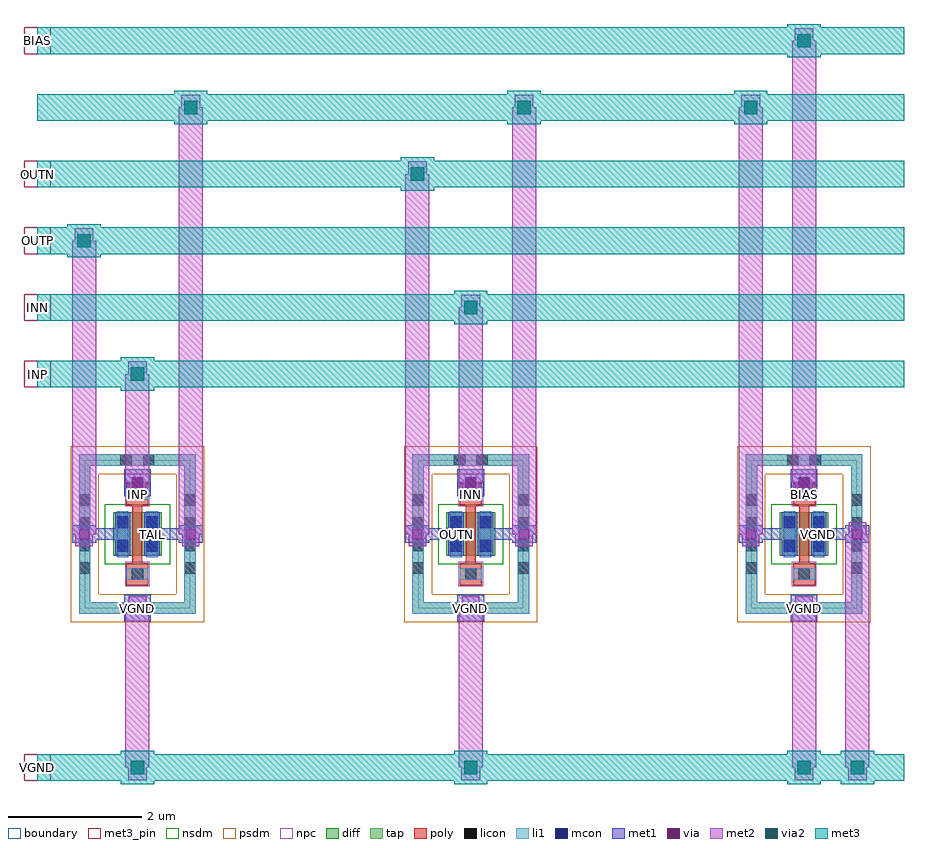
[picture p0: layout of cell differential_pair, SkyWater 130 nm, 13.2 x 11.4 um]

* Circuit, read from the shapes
.subckt differential_pair BIAS INN INP OUTN OUTP TAIL VGND
XM1 TAIL INP OUTP VGND sky130_fd_pr__nfet_01v8 w=0.65 l=0.15
XM2 TAIL INN OUTN VGND sky130_fd_pr__nfet_01v8 w=0.65 l=0.15
XM3 VGND BIAS TAIL VGND sky130_fd_pr__nfet_01v8 w=0.65 l=0.15
.ends

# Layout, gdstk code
import gdstk
lib = gdstk.Library(unit=1e-6, precision=1e-09)
def R(c, l, rs):  # rectangles x0, y0, x1, y1
    for r in rs: c.add(gdstk.rectangle(r[:2], r[2:], *l))
def A(c, l, x, y, w, h, nx, ny, dx, dy):  # array of equal rectangles
    R(c, l, [(x+i*dx, y+j*dy, x+i*dx+w, y+j*dy+h) for i in range(nx) for j in range(ny)])
diff = (65, 20)
tap = (65, 44)
poly = (66, 20)
licon = (66, 44)
li1 = (67, 20)
mcon = (67, 44)
met1 = (68, 20)
via = (68, 44)
met2 = (69, 20)
via2 = (69, 44)
met3_pin = (70, 16)
met3 = (70, 20)
nsdm = (93, 44)
psdm = (94, 20)
npc = (95, 20)
boundary = (235, 4)

differential_pair = lib.new_cell('differential_pair')
A(differential_pair, diff, -0.365, -0.325, 0.73, 0.65, 3, 1, 5, 0)
A(differential_pair, tap, -0.875, -1.195, 1.75, 0.17, 3, 2, 5, 2.22)
R(differential_pair, tap, [(-0.875,-1.025,-0.705,1.025), (0.705,-1.025,0.875,1.025), (4.125,-1.025,4.295,1.025), (5.705,-1.025,5.875,1.025), (9.125,-1.025,9.295,1.025), (10.705,-1.025,10.875,1.025)])
A(differential_pair, poly, -0.165, -0.765, 0.33, 0.33, 3, 2, 5, 1.2)
A(differential_pair, poly, -0.075, -0.435, 0.15, 0.87, 3, 1, 5, 0)
A(differential_pair, licon, -0.085, -0.685, 0.17, 0.17, 3, 2, 5, 1.2)
A(differential_pair, licon, -0.875, -0.595, 0.17, 0.17, 1, 4, 0, 0.34)
A(differential_pair, licon, 0.705, -0.595, 0.17, 0.17, 1, 4, 0, 0.34)
A(differential_pair, licon, 4.125, -0.595, 0.17, 0.17, 1, 4, 0, 0.34)
A(differential_pair, licon, 5.705, -0.595, 0.17, 0.17, 1, 4, 0, 0.34)
A(differential_pair, licon, 9.125, -0.595, 0.17, 0.17, 1, 4, 0, 0.34)
A(differential_pair, licon, 10.705, -0.595, 0.17, 0.17, 1, 4, 0, 0.34)
R(differential_pair, licon, [(-0.255,-1.195,-0.085,-1.025), (0.085,-1.195,0.255,-1.025), (4.745,-1.195,4.915,-1.025), (5.085,-1.195,5.255,-1.025), (9.745,-1.195,9.915,-1.025), (10.085,-1.195,10.255,-1.025), (-0.305,-0.255,-0.135,-0.085), (0.135,-0.255,0.305,-0.085), (4.695,-0.255,4.865,-0.085), (5.135,-0.255,5.305,-0.085), (9.695,-0.255,9.865,-0.085), (10.135,-0.255,10.305,-0.085), (-0.305,0.085,-0.135,0.255), (0.135,0.085,0.305,0.255), (4.695,0.085,4.865,0.255), (5.135,0.085,5.305,0.255), (9.695,0.085,9.865,0.255), (10.135,0.085,10.305,0.255), (-0.255,1.025,-0.085,1.195), (0.085,1.025,0.255,1.195), (4.745,1.025,4.915,1.195), (5.085,1.025,5.255,1.195), (9.745,1.025,9.915,1.195), (10.085,1.025,10.255,1.195)])
A(differential_pair, li1, -0.875, -1.195, 1.75, 0.17, 3, 2, 5, 2.22)
A(differential_pair, li1, -0.165, -0.685, 0.33, 0.17, 3, 2, 5, 1.2)
A(differential_pair, li1, -0.085, 0.515, 0.17, 0.34, 3, 1, 5, 0)
R(differential_pair, li1, [(-0.875,-1.025,-0.705,1.025), (0.705,-1.025,0.875,1.025), (4.125,-1.025,4.295,1.025), (5.705,-1.025,5.875,1.025), (9.125,-1.025,9.295,1.025), (10.705,-1.025,10.875,1.025), (-0.305,-0.345,-0.135,0.345), (0.135,-0.345,0.305,0.345), (4.695,-0.345,4.865,0.345), (5.135,-0.345,5.305,0.345), (9.695,-0.345,9.865,0.345), (10.135,-0.345,10.305,0.345)])
A(differential_pair, mcon, -0.085, -1.195, 0.17, 0.17, 3, 2, 5, 1.88)
R(differential_pair, mcon, [(-0.305,-0.265,-0.135,-0.095), (0.135,-0.265,0.305,-0.095), (4.695,-0.265,4.865,-0.095), (5.135,-0.265,5.305,-0.095), (9.695,-0.265,9.865,-0.095), (10.135,-0.265,10.305,-0.095), (-0.305,0.095,-0.135,0.265), (0.135,0.095,0.305,0.265), (4.695,0.095,4.865,0.265), (5.135,0.095,5.305,0.265), (9.695,0.095,9.865,0.265), (10.135,0.095,10.305,0.265)])
A(differential_pair, met1, -0.2, -1.31, 0.4, 0.4, 3, 2, 5, 1.88)
A(differential_pair, met1, -0.18, -1.24, 0.36, 0.26, 3, 2, 5, 1.88)
R(differential_pair, met1, [(-0.335,-0.325,-0.105,0.325), (0.105,-0.325,0.335,0.325), (4.665,-0.325,4.895,0.325), (5.105,-0.325,5.335,0.325), (9.665,-0.325,9.895,0.325), (10.105,-0.325,10.335,0.325), (-0.98,-0.13,-0.62,0.13), (0.62,-0.13,0.98,0.13), (4.02,-0.13,4.38,0.13), (5.62,-0.13,5.98,0.13), (9.02,-0.13,9.38,0.13), (10.62,-0.13,10.98,0.13)])
A(differential_pair, via, -0.075, -1.185, 0.15, 0.15, 3, 2, 5, 1.88)
R(differential_pair, via, [(-0.875,-0.075,-0.725,0.075), (0.725,-0.075,0.875,0.075), (4.125,-0.075,4.275,0.075), (5.725,-0.075,5.875,0.075), (9.125,-0.075,9.275,0.075), (10.725,-0.075,10.875,0.075)])
A(differential_pair, met2, -0.14, -3.69, 0.28, 0.38, 3, 1, 5, 0)
A(differential_pair, met2, -0.13, -1.29, 0.26, 0.36, 3, 2, 5, 1.88)
R(differential_pair, met2, [(10.66,-3.69,10.94,-3.31), (-0.93,-0.18,-0.67,0.18), (0.67,-0.18,0.93,0.18), (4.07,-0.18,4.33,0.18), (5.67,-0.18,5.93,0.18), (9.07,-0.18,9.33,0.18), (10.67,-0.18,10.93,0.18), (-0.14,2.21,0.14,2.59), (4.86,3.21,5.14,3.59), (-0.94,4.21,-0.66,4.59), (4.06,5.21,4.34,5.59), (0.66,6.21,0.94,6.59), (5.66,6.21,5.94,6.59), (9.06,6.21,9.34,6.59), (9.86,7.21,10.14,7.59)])
A(differential_pair, via2, -0.1, -3.6, 0.2, 0.2, 3, 1, 5, 0)
R(differential_pair, via2, [(10.7,-3.6,10.9,-3.4), (-0.1,2.3,0.1,2.5), (4.9,3.3,5.1,3.5), (-0.9,4.3,-0.7,4.5), (4.1,5.3,4.3,5.5), (0.7,6.3,0.9,6.5), (5.7,6.3,5.9,6.5), (9.1,6.3,9.3,6.5), (9.9,7.3,10.1,7.5)])
A(differential_pair, met3_pin, -1.7, 2.2, 0.4, 0.4, 1, 4, 0, 1)
R(differential_pair, met3_pin, [(-1.7,-3.7,-1.3,-3.3), (-1.7,7.2,-1.3,7.6)])
A(differential_pair, met3, -0.25, -3.75, 0.5, 0.5, 3, 1, 5, 0)
R(differential_pair, met3, [(10.55,-3.75,11.05,-3.25), (-0.25,2.15,0.25,2.65), (4.75,3.15,5.25,3.65), (-1.05,4.15,-0.55,4.65), (3.95,5.15,4.45,5.65), (0.55,6.15,1.05,6.65), (5.55,6.15,6.05,6.65), (8.95,6.15,9.45,6.65), (9.75,7.15,10.25,7.65)])
A(differential_pair, nsdm, -0.49, -0.45, 0.98, 0.9, 3, 1, 5, 0)
A(differential_pair, psdm, -1, -1.32, 2, 0.42, 3, 2, 5, 2.22)
R(differential_pair, psdm, [(-1,-0.9,-0.58,0.9), (0.58,-0.9,1,0.9), (4,-0.9,4.42,0.9), (5.58,-0.9,6,0.9), (9,-0.9,9.42,0.9), (10.58,-0.9,11,0.9)])
A(differential_pair, npc, -0.185, -0.785, 0.37, 0.37, 3, 2, 5, 1.2)
A(differential_pair, boundary, -0.79, -1.11, 1.58, 2.22, 3, 1, 5, 0)
differential_pair.add(gdstk.FlexPath([(10.22,0),(10.8,0)], 0.17, ends="flush", simple_path=True, layer=68, datatype=20))  # met1
differential_pair.add(gdstk.FlexPath([(9.78,0),(9.2,0)], 0.17, ends="flush", simple_path=True, layer=68, datatype=20))  # met1
differential_pair.add(gdstk.FlexPath([(5.22,0),(5.8,0)], 0.17, ends="flush", simple_path=True, layer=68, datatype=20))  # met1
differential_pair.add(gdstk.FlexPath([(0.22,0),(0.8,0)], 0.17, ends="flush", simple_path=True, layer=68, datatype=20))  # met1
differential_pair.add(gdstk.FlexPath([(4.78,0),(4.2,0)], 0.17, ends="flush", simple_path=True, layer=68, datatype=20))  # met1
differential_pair.add(gdstk.FlexPath([(-0.22,0),(-0.8,0)], 0.17, ends="flush", simple_path=True, layer=68, datatype=20))  # met1
differential_pair.add(gdstk.FlexPath([(9.2,0),(9.2,6.4)], 0.36, ends="flush", simple_path=True, layer=69, datatype=20))  # met2
differential_pair.add(gdstk.FlexPath([(5,-1.11),(5,-3.5)], 0.36, ends="flush", simple_path=True, layer=69, datatype=20))  # met2
differential_pair.add(gdstk.FlexPath([(5,0.77),(5,3.4)], 0.36, ends="flush", simple_path=True, layer=69, datatype=20))  # met2
differential_pair.add(gdstk.FlexPath([(5.8,0),(5.8,6.4)], 0.36, ends="flush", simple_path=True, layer=69, datatype=20))  # met2
differential_pair.add(gdstk.FlexPath([(10,-1.11),(10,-3.5)], 0.36, ends="flush", simple_path=True, layer=69, datatype=20))  # met2
differential_pair.add(gdstk.FlexPath([(10.8,0),(10.8,-3.5)], 0.36, ends="flush", simple_path=True, layer=69, datatype=20))  # met2
differential_pair.add(gdstk.FlexPath([(4.2,0),(4.2,5.4)], 0.36, ends="flush", simple_path=True, layer=69, datatype=20))  # met2
differential_pair.add(gdstk.FlexPath([(10,0.77),(10,7.4)], 0.36, ends="flush", simple_path=True, layer=69, datatype=20))  # met2
differential_pair.add(gdstk.FlexPath([(0,-1.11),(0,-3.5)], 0.36, ends="flush", simple_path=True, layer=69, datatype=20))  # met2
differential_pair.add(gdstk.FlexPath([(0.8,0),(0.8,6.4)], 0.36, ends="flush", simple_path=True, layer=69, datatype=20))  # met2
differential_pair.add(gdstk.FlexPath([(0,0.77),(0,2.4)], 0.36, ends="flush", simple_path=True, layer=69, datatype=20))  # met2
differential_pair.add(gdstk.FlexPath([(-0.8,0),(-0.8,4.4)], 0.36, ends="flush", simple_path=True, layer=69, datatype=20))  # met2
differential_pair.add(gdstk.FlexPath([(-1.5,-3.5),(11.5,-3.5)], 0.4, ends="flush", simple_path=True, layer=70, datatype=20))  # met3
differential_pair.add(gdstk.FlexPath([(-1.5,7.4),(11.5,7.4)], 0.4, ends="flush", simple_path=True, layer=70, datatype=20))  # met3
differential_pair.add(gdstk.FlexPath([(-1.5,5.4),(11.5,5.4)], 0.4, ends="flush", simple_path=True, layer=70, datatype=20))  # met3
differential_pair.add(gdstk.FlexPath([(-1.5,6.4),(11.5,6.4)], 0.4, ends="flush", simple_path=True, layer=70, datatype=20))  # met3
differential_pair.add(gdstk.FlexPath([(-1.5,4.4),(11.5,4.4)], 0.4, ends="flush", simple_path=True, layer=70, datatype=20))  # met3
differential_pair.add(gdstk.FlexPath([(-1.5,3.4),(11.5,3.4)], 0.4, ends="flush", simple_path=True, layer=70, datatype=20))  # met3
differential_pair.add(gdstk.FlexPath([(-1.5,2.4),(11.5,2.4)], 0.4, ends="flush", simple_path=True, layer=70, datatype=20))  # met3
differential_pair.add(gdstk.Label('VGND', (10.22,0), layer=67, texttype=5))
differential_pair.add(gdstk.Label('TAIL', (9.78,0), layer=67, texttype=5))
differential_pair.add(gdstk.Label('VGND', (10,-1.11), layer=67, texttype=5))
differential_pair.add(gdstk.Label('INN', (5,0.6), layer=67, texttype=5))
differential_pair.add(gdstk.Label('OUTN', (4.78,0), layer=67, texttype=5))
differential_pair.add(gdstk.Label('TAIL', (5.22,0), layer=67, texttype=5))
differential_pair.add(gdstk.Label('INP', (0,0.6), layer=67, texttype=5))
differential_pair.add(gdstk.Label('VGND', (5,-1.11), layer=67, texttype=5))
differential_pair.add(gdstk.Label('TAIL', (0.22,0), layer=67, texttype=5))
differential_pair.add(gdstk.Label('BIAS', (10,0.6), layer=67, texttype=5))
differential_pair.add(gdstk.Label('OUTP', (-0.22,0), layer=67, texttype=5))
differential_pair.add(gdstk.Label('VGND', (0,-1.11), layer=67, texttype=5))
differential_pair.add(gdstk.Label('VGND', (-1.5,-3.5), layer=70, texttype=5))
differential_pair.add(gdstk.Label('BIAS', (-1.5,7.4), layer=70, texttype=5))
differential_pair.add(gdstk.Label('OUTN', (-1.5,5.4), layer=70, texttype=5))
differential_pair.add(gdstk.Label('OUTP', (-1.5,4.4), layer=70, texttype=5))
differential_pair.add(gdstk.Label('INN', (-1.5,3.4), layer=70, texttype=5))
differential_pair.add(gdstk.Label('INP', (-1.5,2.4), layer=70, texttype=5))

lib.write_gds('differential_pair.gds')
